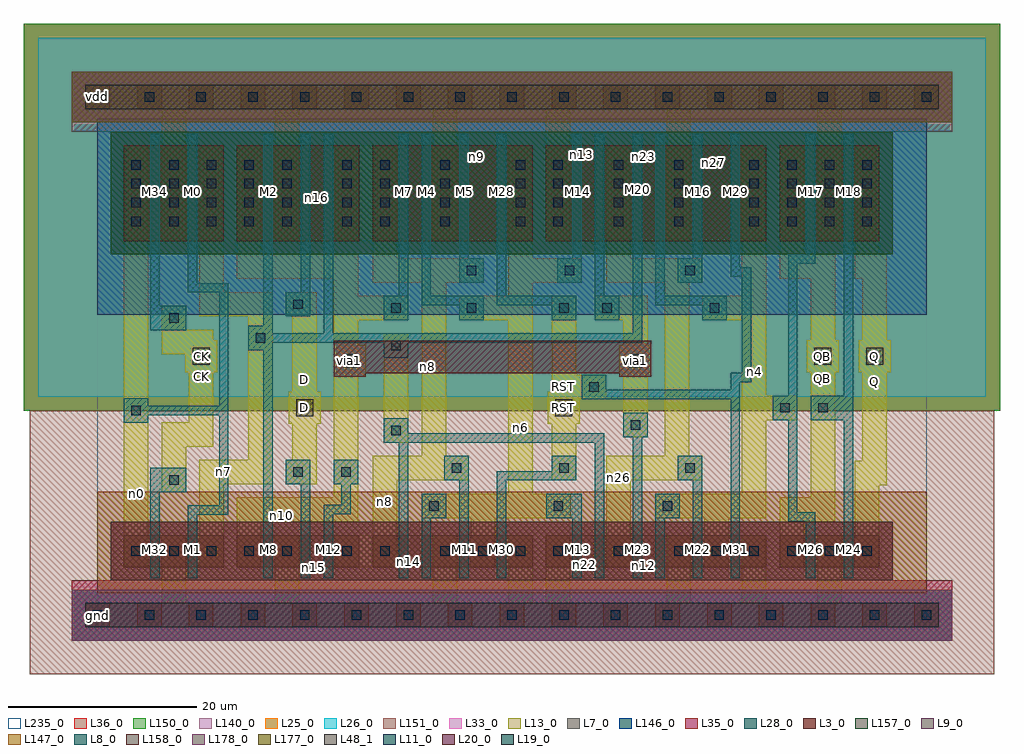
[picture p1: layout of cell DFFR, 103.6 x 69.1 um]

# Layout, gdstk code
import gdstk
lib = gdstk.Library(unit=1e-6, precision=1e-09)
def R(c, l, rs):  # rectangles x0, y0, x1, y1
    for r in rs: c.add(gdstk.rectangle(r[:2], r[2:], *l))
def A(c, l, x, y, w, h, nx, ny, dx, dy):  # array of equal rectangles
    R(c, l, [(x+i*dx, y+j*dy, x+i*dx+w, y+j*dy+h) for i in range(nx) for j in range(ny)])
def P(c, l, *ps):  # polygons
    for p in ps: c.add(gdstk.Polygon(p, *l))
L3_0 = (3, 0)
L7_0 = (7, 0)
L8_0 = (8, 0)
L9_0 = (9, 0)
L11_0 = (11, 0)
L13_0 = (13, 0)
L19_0 = (19, 0)
L20_0 = (20, 0)
L25_0 = (25, 0)
L26_0 = (26, 0)
L28_0 = (28, 0)
L33_0 = (33, 0)
L35_0 = (35, 0)
L36_0 = (36, 0)
L48_1 = (48, 1)
L140_0 = (140, 0)
L146_0 = (146, 0)
L147_0 = (147, 0)
L150_0 = (150, 0)
L151_0 = (151, 0)
L157_0 = (157, 0)
L158_0 = (158, 0)
L177_0 = (177, 0)
L178_0 = (178, 0)
L235_0 = (235, 0)

dffr = lib.new_cell('DFFR')
A(dffr, L3_0, -1.3, -1.3, 2.6, 2.6, 17, 2, 5.5, 55)
R(dffr, L3_0, [(2.8,5.1,13.4,8.5), (14.8,5.1,27.8,8.5), (29.2,5.1,46.2,8.5), (47.6,5.1,71,8.5), (72.4,5.1,83,8.5), (2.8,39.7,13.4,49.9), (14.8,39.7,27.8,49.9), (29.2,39.7,46.2,49.9), (47.6,39.7,71,49.9), (72.4,39.7,83,49.9)])
R(dffr, L7_0, [(-2.75,-2.7,90.75,2.7)])
P(dffr, L7_0, [(1.4,38.3),(1.4,51.3),(-2.75,51.3),(-2.75,57.7),(90.75,57.7),(90.75,51.3),(84.4,51.3),(84.4,38.3)])
P(dffr, L8_0, [(34.4,3.9),(34.4,12.9),(37,12.9),(37,10.3),(35.4,10.3),(35.4,3.9)],
  [(50.4,3.9),(50.4,10.3),(47.61,10.3),(47.61,12.9),(51.4,12.9),(51.4,3.9)],
  [(59.2,3.9),(59.2,12.9),(61.8,12.9),(61.8,10.3),(60.2,10.3),(60.2,3.9)],
  [(5.6,3.9),(5.6,15.64),(9.4,15.64),(9.4,13.04),(6.6,13.04),(6.6,3.9)],
  [(21.6,3.9),(21.6,13.9),(20,13.9),(20,16.5),(22.6,16.5),(22.6,3.9)],
  [(24,3.9),(24,11.7),(25.9,11.7),(25.9,13.9),(25.1,13.9),(25.1,16.5),(27.7,16.5),(27.7,13.9),(26.9,13.9),(26.9,10.7),(25,10.7),(25,3.9)],
  [(38.4,3.9),(38.4,14.3),(36.8,14.3),(36.8,16.9),(39.4,16.9),(39.4,3.9)],
  [(42.4,3.9),(42.4,15.3),(48.2,15.3),(48.2,16.9),(50.8,16.9),(50.8,14.3),(43.4,14.3),(43.4,3.9)],
  [(63.2,3.9),(63.2,14.3),(61.6,14.3),(61.6,16.9),(64.2,16.9),(64.2,3.9)],
  [(32,3.9),(32,18.31),(30.4,18.31),(30.4,20.91),(33,20.91),(33,19.3),(53.8,19.3),(53.8,3.9),(52.8,3.9),(52.8,18.3),(33,18.3),(33,3.9)],
  [(56.8,3.9),(56.8,18.9),(55.8,18.9),(55.8,21.5),(58.4,21.5),(58.4,18.9),(57.8,18.9),(57.8,3.9)],
  [(5.6,30.25),(5.6,51.1),(6.6,51.1),(6.6,32.85),(9.4,32.85),(9.4,30.25)],
  [(9.6,3.9),(9.6,11.64),(12.9,11.64),(12.9,21.2),(5.4,21.2),(5.4,20.4),(2.8,20.4),(2.8,23),(5.4,23),(5.4,22.2),(12.9,22.2),(12.9,34.25),(9.6,34.25),(9.6,51.1),(10.6,51.1),(10.6,35.25),(13.9,35.25),(13.9,10.64),(10.6,10.64),(10.6,3.9)],
  [(20,31.7),(20,34.3),(21.6,34.3),(21.6,51.1),(22.6,51.1),(22.6,31.7)],
  [(30.4,31.3),(30.4,33.9),(32,33.9),(32,51.1),(33,51.1),(33,31.3)],
  [(38.4,31.3),(38.4,32.9),(34.4,32.9),(34.4,51.1),(35.4,51.1),(35.4,33.9),(41,33.9),(41,31.3)],
  [(38.4,35.3),(38.4,51.1),(39.4,51.1),(39.4,37.9),(41,37.9),(41,35.3)],
  [(48.2,31.3),(48.2,32.9),(42.4,32.9),(42.4,51.1),(43.4,51.1),(43.4,33.9),(50.8,33.9),(50.8,31.3)],
  [(48.8,35.3),(48.8,37.9),(50.4,37.9),(50.4,51.1),(51.4,51.1),(51.4,35.3)],
  [(52.8,31.3),(52.8,51.1),(53.8,51.1),(53.8,33.9),(55.4,33.9),(55.4,31.3)],
  [(17.6,3.9),(17.6,28.105),(15.99,28.105),(15.99,30.705),(17.6,30.705),(17.6,51.1),(18.6,51.1),(18.6,29.9),(24,29.9),(24,51.1),(25,51.1),(25,29.9),(56.8,29.9),(56.8,51.1),(57.8,51.1),(57.8,28.9),(33,28.9),(33,27.3),(30.4,27.3),(30.4,28.9),(18.6,28.9),(18.6,3.9)],
  [(64.2,31.3),(64.2,32.9),(59.2,32.9),(59.2,51.1),(60.2,51.1),(60.2,33.9),(66.8,33.9),(66.8,31.3)],
  [(61.6,35.3),(61.6,37.9),(63.2,37.9),(63.2,51.1),(64.2,51.1),(64.2,35.3)],
  [(67.2,3.9),(67.2,22.9),(51.4,22.9),(51.4,25.5),(54,25.5),(54,23.9),(67.2,23.9),(67.2,25.71),(68.4,25.71),(68.4,35.92),(67.2,35.92),(67.2,51.1),(68.2,51.1),(68.2,36.92),(69.4,36.92),(69.4,24.71),(68.2,24.71),(68.2,3.9)],
  [(75.2,3.9),(75.2,9.9),(73.3,9.9),(73.3,20.71),(71.7,20.71),(71.7,23.31),(73.3,23.31),(73.3,38.3),(75.2,38.3),(75.2,51.1),(76.2,51.1),(76.2,37.3),(74.3,37.3),(74.3,10.9),(76.2,10.9),(76.2,3.9)],
  [(79.2,3.9),(79.2,20.71),(75.7,20.71),(75.7,23.31),(79.2,23.31),(79.2,51.1),(80.2,51.1),(80.2,3.9)])
R(dffr, L9_0, [(1.4,3.7,84.4,9.9), (-2.75,52.3,90.75,57.7)])
A(dffr, L11_0, -0.5, -0.5, 1, 1, 17, 2, 5.5, 55)
A(dffr, L11_0, 7.6, 6.3, 1, 1, 4, 2, 4, 35)
A(dffr, L11_0, 40.4, 6.3, 1, 1, 3, 1, 4, 0)
A(dffr, L11_0, 65.2, 6.3, 1, 1, 4, 1, 4, 0)
A(dffr, L11_0, 3.6, 41.3, 1, 1, 1, 4, 0, 2)
A(dffr, L11_0, 7.6, 41.3, 1, 1, 1, 4, 0, 2)
A(dffr, L11_0, 19.6, 41.3, 1, 1, 1, 4, 0, 2)
A(dffr, L11_0, 26, 41.3, 1, 1, 1, 4, 0, 2)
A(dffr, L11_0, 30, 41.3, 1, 1, 1, 4, 0, 2)
A(dffr, L11_0, 44.4, 41.3, 1, 1, 1, 4, 0, 2)
A(dffr, L11_0, 48.4, 41.3, 1, 1, 1, 4, 0, 2)
A(dffr, L11_0, 69.2, 41.3, 1, 1, 3, 4, 4, 2)
A(dffr, L11_0, 77.2, 41.3, 1, 1, 1, 4, 0, 2)
A(dffr, L11_0, 81.2, 41.3, 1, 1, 1, 4, 0, 2)
A(dffr, L11_0, 7.6, 43.3, 1, 1, 4, 3, 4, 2)
R(dffr, L11_0, [(3.6,6.3,4.6,7.3), (7.6,6.3,8.6,7.3), (19.6,6.3,20.6,7.3), (26,6.3,27,7.3), (30,6.3,31,7.3), (36.4,6.3,37.4,7.3), (36.4,6.3,37.4,7.3), (40.4,6.3,41.4,7.3), (54.8,6.3,55.8,7.3), (54.8,6.3,55.8,7.3), (61.2,6.3,62.2,7.3), (61.2,6.3,62.2,7.3), (65.2,6.3,66.2,7.3), (77.2,6.3,78.2,7.3), (81.2,6.3,82.2,7.3), (35.2,11.1,36.2,12.1), (48.41,11.1,49.41,12.1), (60,11.1,61,12.1), (7.6,13.84,8.6,14.84), (20.8,14.7,21.8,15.7), (25.9,14.7,26.9,15.7), (37.6,15.1,38.6,16.1), (49,15.1,50,16.1), (62.4,15.1,63.4,16.1), (31.2,19.11,32.2,20.11), (56.6,19.7,57.6,20.7), (3.6,21.2,4.6,22.2), (72.5,21.51,73.5,22.51), (76.5,21.51,77.5,22.51), (52.2,23.7,53.2,24.7), (31.2,28.1,32.2,29.1), (16.79,28.905,17.79,29.905), (7.6,31.05,8.6,32.05), (31.2,32.1,32.2,33.1), (39.2,32.1,40.2,33.1), (49,32.1,50,33.1), (53.6,32.1,54.6,33.1), (65,32.1,66,33.1), (20.8,32.5,21.8,33.5), (39.2,36.1,40.2,37.1), (49.6,36.1,50.6,37.1), (62.4,36.1,63.4,37.1), (36.4,41.3,37.4,42.3), (36.4,41.3,37.4,42.3), (54.8,41.3,55.8,42.3), (54.8,41.3,55.8,42.3), (61.2,41.3,62.2,42.3), (61.2,41.3,62.2,42.3), (36.4,43.3,37.4,44.3), (36.4,43.3,37.4,44.3), (54.8,43.3,55.8,44.3), (54.8,43.3,55.8,44.3), (61.2,43.3,62.2,44.3), (61.2,43.3,62.2,44.3), (36.4,45.3,37.4,46.3), (36.4,45.3,37.4,46.3), (54.8,45.3,55.8,46.3), (54.8,45.3,55.8,46.3), (61.2,45.3,62.2,46.3), (61.2,45.3,62.2,46.3), (36.4,47.3,37.4,48.3), (36.4,47.3,37.4,48.3), (54.8,47.3,55.8,48.3), (54.8,47.3,55.8,48.3), (61.2,47.3,62.2,48.3), (61.2,47.3,62.2,48.3)])
R(dffr, L13_0, [(2.8,5.1,5.4,49.9), (30.4,18.31,33,29.9)])
P(dffr, L13_0, [(-1.3,-1.3),(-1.3,1.3),(6.8,1.3),(6.8,8.5),(9.4,8.5),(9.4,1.3),(18.8,1.3),(18.8,8.5),(21.4,8.5),(21.4,1.3),(35.6,1.3),(35.6,8.5),(38.2,8.5),(38.2,1.3),(43.6,1.3),(43.6,8.5),(46.2,8.5),(46.2,1.3),(47.6,1.3),(47.6,8.5),(50.2,8.5),(50.2,1.3),(60.4,1.3),(60.4,8.5),(63,8.5),(63,1.3),(68.4,1.3),(68.4,8.5),(71,8.5),(71,1.3),(76.4,1.3),(76.4,8.5),(79,8.5),(79,1.3),(89.3,1.3),(89.3,-1.3)],
  [(6.8,13.04),(6.8,20.5),(9.7,20.5),(9.7,25.8),(9.3,25.8),(9.3,27.7),(6.8,27.7),(6.8,32.85),(9.4,32.85),(9.4,30.3),(12.3,30.3),(12.3,29.2),(12.7,29.2),(12.7,25.8),(12.3,25.8),(12.3,17.9),(9.4,17.9),(9.4,13.04)],
  [(48.2,14.3),(48.2,20.3),(47.8,20.3),(47.8,23.7),(48.2,23.7),(48.2,33.9),(50.8,33.9),(50.8,25.5),(54,25.5),(54,22.9),(51.2,22.9),(51.2,20.3),(50.8,20.3),(50.8,14.3)],
  [(55.8,18.9),(55.8,25.3),(55.4,25.3),(55.4,28.7),(55.8,28.7),(55.8,31.3),(52.8,31.3),(52.8,33.9),(58.4,33.9),(58.4,28.7),(58.8,28.7),(58.8,25.3),(58.4,25.3),(58.4,18.9)],
  [(20,13.9),(20,16.5),(20.7,16.5),(20.7,20.3),(20.3,20.3),(20.3,23.7),(20.7,23.7),(20.7,31.7),(20,31.7),(20,34.3),(23.3,34.3),(23.3,23.7),(23.7,23.7),(23.7,20.3),(23.3,20.3),(23.3,13.9)],
  [(10.8,5.1),(10.8,16.5),(15.99,16.5),(15.99,31.7),(10.8,31.7),(10.8,49.9),(13.4,49.9),(13.4,34.3),(18.59,34.3),(18.59,13.9),(13.4,13.9),(13.4,5.1)],
  [(14.8,5.1),(14.8,12.5),(25.1,12.5),(25.1,35.7),(14.8,35.7),(14.8,49.9),(17.4,49.9),(17.4,38.3),(27.7,38.3),(27.7,33.9),(33,33.9),(33,31.3),(27.7,31.3),(27.7,28.7),(28.5,28.7),(28.5,25.3),(27.7,25.3),(27.7,9.9),(17.4,9.9),(17.4,5.1)],
  [(25.2,5.1),(25.2,8.5),(29.2,8.5),(29.2,16.9),(34.4,16.9),(34.4,35.3),(29.2,35.3),(29.2,39.7),(25.2,39.7),(25.2,49.9),(31.8,49.9),(31.8,37.9),(41,37.9),(41,35.3),(37,35.3),(37,16.9),(39.41,16.9),(39.41,14.3),(31.8,14.3),(31.8,5.1)],
  [(39.6,5.1),(39.6,10.3),(34.4,10.3),(34.4,12.9),(43.6,12.9),(43.6,31.3),(38.4,31.3),(38.4,33.9),(43.6,33.9),(43.6,49.9),(46.2,49.9),(46.2,37.9),(51.4,37.9),(51.4,35.3),(46.2,35.3),(46.2,12.9),(50.21,12.9),(50.21,10.3),(42.2,10.3),(42.2,5.1)],
  [(54,5.1),(54,16.9),(60.2,16.9),(60.2,35.3),(54,35.3),(54,49.9),(56.6,49.9),(56.6,37.9),(64.2,37.9),(64.2,35.3),(62.8,35.3),(62.8,16.9),(64.2,16.9),(64.2,14.3),(56.6,14.3),(56.6,5.1)],
  [(64.4,5.1),(64.4,10.3),(59.2,10.3),(59.2,12.9),(68.4,12.9),(68.4,31.3),(64.2,31.3),(64.2,33.9),(68.4,33.9),(68.4,49.9),(71,49.9),(71,23.31),(74.3,23.31),(74.3,20.71),(71,20.71),(71,10.3),(67,10.3),(67,5.1)],
  [(72.4,5.1),(72.4,12.5),(75.7,12.5),(75.7,25.8),(75.3,25.8),(75.3,29.2),(75.7,29.2),(75.7,35.7),(72.4,35.7),(72.4,49.9),(75,49.9),(75,38.3),(78.3,38.3),(78.3,29.2),(78.7,29.2),(78.7,25.8),(78.3,25.8),(78.3,9.9),(75,9.9),(75,5.1)],
  [(80.4,5.1),(80.4,16.4),(81.2,16.4),(81.2,25.8),(80.8,25.8),(80.8,29.2),(81.2,29.2),(81.2,35.72),(80.4,35.72),(80.4,49.9),(83,49.9),(83,38.32),(83.8,38.32),(83.8,29.2),(84.2,29.2),(84.2,25.8),(83.8,25.8),(83.8,13.8),(83,13.8),(83,5.1)],
  [(6.8,39.7),(6.8,53.7),(-1.3,53.7),(-1.3,56.3),(89.3,56.3),(89.3,53.7),(79,53.7),(79,39.7),(76.4,39.7),(76.4,53.7),(63,53.7),(63,39.7),(60.4,39.7),(60.4,53.7),(50.2,53.7),(50.2,39.7),(47.6,39.7),(47.6,53.7),(38.2,53.7),(38.2,39.7),(35.6,39.7),(35.6,53.7),(21.4,53.7),(21.4,39.7),(18.8,39.7),(18.8,53.7),(9.4,53.7),(9.4,39.7)])
R(dffr, L19_0, [(26.1,26.3,27.5,27.7), (56.4,26.3,57.8,27.7)])
P(dffr, L20_0, [(25.1,25.3),(25.1,29.1),(58.8,29.1),(58.8,25.3),(55.4,25.3),(55.4,25.7),(28.5,25.7),(28.5,25.3)])
R(dffr, L25_0, [(-6.3,23.2,94.3,61.3)])
R(dffr, L26_0, [(-6.3,23.2,94.3,61.3)])
R(dffr, L28_0, [(-2.75,-2.7,90.75,2.7), (1.4,38.3,84.4,51.3)])
P(dffr, L33_0, [(-2.75,-2.7),(-2.75,3.7),(1.4,3.7),(1.4,9.9),(84.4,9.9),(84.4,3.7),(90.75,3.7),(90.75,-2.7)],
  [(1.4,38.3),(1.4,51.3),(-2.75,51.3),(-2.75,57.7),(90.75,57.7),(90.75,51.3),(84.4,51.3),(84.4,38.3)])
R(dffr, L35_0, [(-2.75,52.3,90.75,57.7)])
P(dffr, L35_0, [(-2.75,-2.7),(-2.75,3.7),(1.4,3.7),(1.4,9.9),(84.4,9.9),(84.4,3.7),(90.75,3.7),(90.75,-2.7)])
R(dffr, L36_0, [(-7.8,21.7,95.8,62.8)])
R(dffr, L48_1, [(-1.3,-1.3,89.3,1.3), (21.1,21.1,22.9,22.9), (48.6,21.1,50.4,22.9), (10.1,26.6,11.9,28.4), (76.1,26.6,77.9,28.4), (81.6,26.6,83.4,28.4), (-1.3,53.7,89.3,56.3)])
R(dffr, L140_0, [(-6.3,23.2,94.3,61.3)])
R(dffr, L146_0, [(0,31.9,88,52.7)])
R(dffr, L147_0, [(0,2.3,88,13.1)])
R(dffr, L150_0, [(-7.8,21.7,95.8,62.8)])
R(dffr, L151_0, [(-7.2,-6.3,95.2,21.7)])
R(dffr, L157_0, [(1.4,38.3,84.4,51.3)])
R(dffr, L158_0, [(1.4,3.7,84.4,9.9)])
R(dffr, L177_0, [(-2.75,52.3,90.75,57.7)])
R(dffr, L178_0, [(-2.75,-2.7,90.75,2.7)])
R(dffr, L235_0, [(0,0,88,55), (0,0,88,55)])
dffr.add(gdstk.Label('CK', (11,25.29), layer=235, texttype=0))
dffr.add(gdstk.Label('D', (22,25.03), layer=235, texttype=0))
dffr.add(gdstk.Label('RST', (49.5,24.25), layer=235, texttype=0))
dffr.add(gdstk.Label('QB', (77,25.07), layer=235, texttype=0))
dffr.add(gdstk.Label('Q', (82.5,24.81), layer=235, texttype=0))
dffr.add(gdstk.Label('n0', (4.1,12.86), layer=235, texttype=0))
dffr.add(gdstk.Label('n7', (13.41,15.2), layer=235, texttype=0))
dffr.add(gdstk.Label('n10', (19.54,10.57), layer=235, texttype=0))
dffr.add(gdstk.Label('n15', (22.97,5.1), layer=235, texttype=0))
dffr.add(gdstk.Label('n8', (30.5,12.1), layer=235, texttype=0))
dffr.add(gdstk.Label('n16', (23.22,44.28), layer=235, texttype=0))
dffr.add(gdstk.Label('n8', (35.08,26.44), layer=235, texttype=0))
dffr.add(gdstk.Label('n14', (33,5.65), layer=235, texttype=0))
dffr.add(gdstk.Label('n6', (44.9,19.97), layer=235, texttype=0))
dffr.add(gdstk.Label('n22', (51.74,5.35), layer=235, texttype=0))
dffr.add(gdstk.Label('n26', (55.3,14.62), layer=235, texttype=0))
dffr.add(gdstk.Label('n12', (58,5.3), layer=235, texttype=0))
dffr.add(gdstk.Label('n4', (69.7,25.86), layer=235, texttype=0))
dffr.add(gdstk.Label('n27', (65.34,48.04), layer=235, texttype=0))
dffr.add(gdstk.Label('n23', (58,48.7), layer=235, texttype=0))
dffr.add(gdstk.Label('n13', (51.4,48.9), layer=235, texttype=0))
dffr.add(gdstk.Label('n9', (40.19,48.7), layer=235, texttype=0))
dffr.add(gdstk.Label('M20', (57.3,45.2), layer=235, texttype=0))
dffr.add(gdstk.Label('M13', (50.9,7), layer=235, texttype=0))
dffr.add(gdstk.Label('M25', (53.31,7), layer=235, texttype=0))
dffr.add(gdstk.Label('M30', (42.91,7), layer=235, texttype=0))
dffr.add(gdstk.Label('M11', (38.91,7), layer=235, texttype=0))
dffr.add(gdstk.Label('M7', (32.5,45), layer=235, texttype=0))
dffr.add(gdstk.Label('M6', (24.5,45), layer=235, texttype=0))
dffr.add(gdstk.Label('M12', (24.5,7), layer=235, texttype=0))
dffr.add(gdstk.Label('M10', (32.5,7), layer=235, texttype=0))
dffr.add(gdstk.Label('M4', (34.9,45), layer=235, texttype=0))
dffr.add(gdstk.Label('M27', (34.9,7), layer=235, texttype=0))
dffr.add(gdstk.Label('M5', (38.91,45), layer=235, texttype=0))
dffr.add(gdstk.Label('M28', (42.91,45), layer=235, texttype=0))
dffr.add(gdstk.Label('M23', (57.31,7), layer=235, texttype=0))
dffr.add(gdstk.Label('M21', (59.71,7), layer=235, texttype=0))
dffr.add(gdstk.Label('M14', (50.91,45), layer=235, texttype=0))
dffr.add(gdstk.Label('M16', (63.71,45), layer=235, texttype=0))
dffr.add(gdstk.Label('M22', (63.71,7), layer=235, texttype=0))
dffr.add(gdstk.Label('M17', (75.7,45), layer=235, texttype=0))
dffr.add(gdstk.Label('M18', (79.7,45), layer=235, texttype=0))
dffr.add(gdstk.Label('M26', (75.71,7), layer=235, texttype=0))
dffr.add(gdstk.Label('M24', (79.71,7), layer=235, texttype=0))
dffr.add(gdstk.Label('M31', (67.71,7), layer=235, texttype=0))
dffr.add(gdstk.Label('M29', (67.7,45), layer=235, texttype=0))
dffr.add(gdstk.Label('M34', (6.1,45), layer=235, texttype=0))
dffr.add(gdstk.Label('M0', (10.1,45), layer=235, texttype=0))
dffr.add(gdstk.Label('M2', (18.1,45), layer=235, texttype=0))
dffr.add(gdstk.Label('M3', (22.1,45), layer=235, texttype=0))
dffr.add(gdstk.Label('M32', (6.1,7), layer=235, texttype=0))
dffr.add(gdstk.Label('M1', (10.1,7), layer=235, texttype=0))
dffr.add(gdstk.Label('M8', (18.1,7), layer=235, texttype=0))
dffr.add(gdstk.Label('M9', (22.1,7), layer=235, texttype=0))
dffr.add(gdstk.Label('D', (22,22), layer=48, texttype=0))
dffr.add(gdstk.Label('RST', (49.5,22), layer=48, texttype=0))
dffr.add(gdstk.Label('QB', (77,27.5), layer=48, texttype=0))
dffr.add(gdstk.Label('Q', (82.5,27.5), layer=48, texttype=0))
dffr.add(gdstk.Label('gnd', (0,0), layer=48, texttype=0))
dffr.add(gdstk.Label('CK', (11,27.5), layer=48, texttype=0))
dffr.add(gdstk.Label('vdd', (0,55), layer=48, texttype=0))
dffr.add(gdstk.Label('via1', (57.1,27), layer=19, texttype=0))
dffr.add(gdstk.Label('via1', (26.8,27), layer=19, texttype=0))

lib.write_gds('DFFR.gds')
